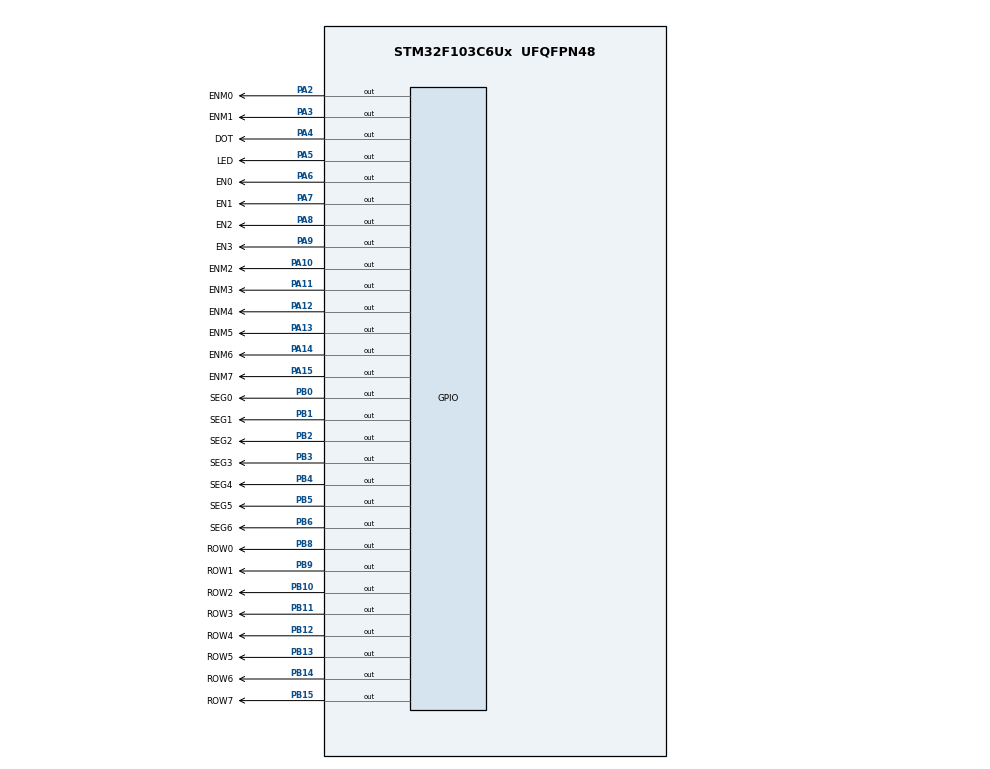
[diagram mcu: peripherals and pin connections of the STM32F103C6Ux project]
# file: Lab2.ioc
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Mcu.Family=STM32F1
Mcu.Name=STM32F103C6Ux
Mcu.Package=UFQFPN48
NVIC.PriorityGroup=NVIC_PRIORITYGROUP_4
NVIC.TIM2_IRQn=true\:0\:0\:false\:false\:true\:true\:true
PA10.GPIO_Label=ENM2
PA10.Signal=GPIO_Output
PA11.GPIO_Label=ENM3
PA11.Signal=GPIO_Output
PA12.GPIO_Label=ENM4
PA12.Signal=GPIO_Output
PA13.GPIO_Label=ENM5
PA13.Signal=GPIO_Output
PA14.GPIO_Label=ENM6
PA14.Signal=GPIO_Output
PA15.GPIO_Label=ENM7
PA15.Signal=GPIO_Output
PA2.GPIO_Label=ENM0
PA2.Signal=GPIO_Output
PA3.GPIO_Label=ENM1
PA3.Signal=GPIO_Output
PA4.GPIO_Label=DOT
PA4.Signal=GPIO_Output
PA5.GPIO_Label=LED
PA5.Signal=GPIO_Output
PA6.GPIO_Label=EN0
PA6.Signal=GPIO_Output
PA7.GPIO_Label=EN1
PA7.Signal=GPIO_Output
PA8.GPIO_Label=EN2
PA8.Signal=GPIO_Output
PA9.GPIO_Label=EN3
PA9.Signal=GPIO_Output
PB0.GPIO_Label=SEG0
PB0.Signal=GPIO_Output
PB1.GPIO_Label=SEG1
PB1.Signal=GPIO_Output
PB10.GPIO_Label=ROW2
PB10.Signal=GPIO_Output
PB11.GPIO_Label=ROW3
PB11.Signal=GPIO_Output
PB12.GPIO_Label=ROW4
PB12.Signal=GPIO_Output
PB13.GPIO_Label=ROW5
PB13.Signal=GPIO_Output
PB14.GPIO_Label=ROW6
PB14.Signal=GPIO_Output
PB15.GPIO_Label=ROW7
PB15.Signal=GPIO_Output
PB2.GPIO_Label=SEG2
PB2.Signal=GPIO_Output
PB3.GPIO_Label=SEG3
PB3.Signal=GPIO_Output
PB4.GPIO_Label=SEG4
PB4.Signal=GPIO_Output
PB5.GPIO_Label=SEG5
PB5.Signal=GPIO_Output
PB6.GPIO_Label=SEG6
PB6.Signal=GPIO_Output
PB8.GPIO_Label=ROW0
PB8.Signal=GPIO_Output
PB9.GPIO_Label=ROW1
PB9.Signal=GPIO_Output
ProjectManager.HeapSize=0x200
ProjectManager.StackSize=0x400
ProjectManager.TargetToolchain=STM32CubeIDE
RCC.APB1Freq_Value=8000000
RCC.APB2Freq_Value=8000000
TIM2.Period=9
TIM2.Prescaler=7999
VP_SYS_VS_ND.Mode=No_Debug
VP_TIM2_VS_ClockSourceINT.Mode=Internal
board=custom

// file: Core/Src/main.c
/* USER CODE BEGIN Header */
/**
  ******************************************************************************
  * @file           : main.c
  * @brief          : Main program body
  ******************************************************************************
  * @attention
  *
  * <h2><center>&copy; Copyright (c) 2025 STMicroelectronics.
  * All rights reserved.</center></h2>
  *
  * This software component is licensed by ST under BSD 3-Clause license,
  * the "License"; You may not use this file except in compliance with the
  * License. You may obtain a copy of the License at:
  *                        opensource.org/licenses/BSD-3-Clause
  *
  ******************************************************************************
  */
/* USER CODE END Header */
#include "main.h"
#include "function.h"

TIM_HandleTypeDef htim2;

void SystemClock_Config(void);
static void MX_GPIO_Init(void);
static void MX_TIM2_Init(void);

/* USER CODE BEGIN 0 */
void display7SEG(int num) {
		const uint8_t segmentMap[10][7] = {
			{1,1,1,1,1,1,0}, // 0
			{0,1,1,0,0,0,0}, // 1
			{1,1,0,1,1,0,1}, // 2
			{1,1,1,1,0,0,1}, // 3
			{0,1,1,0,0,1,1}, // 4
			{1,0,1,1,0,1,1}, // 5
			{1,0,1,1,1,1,1}, // 6
			{1,1,1,0,0,0,0}, // 7
			{1,1,1,1,1,1,1}, // 8
			{1,1,1,1,0,1,1}  // 9
		};

		if (num < 0 || num > 9) return; // invalid input

		HAL_GPIO_WritePin(SEG0_GPIO_Port, SEG0_Pin, segmentMap[num][0] ? GPIO_PIN_RESET : GPIO_PIN_SET);
		HAL_GPIO_WritePin(SEG1_GPIO_Port, SEG1_Pin, segmentMap[num][1] ? GPIO_PIN_RESET : GPIO_PIN_SET);
		HAL_GPIO_WritePin(SEG2_GPIO_Port, SEG2_Pin, segmentMap[num][2] ? GPIO_PIN_RESET : GPIO_PIN_SET);
		HAL_GPIO_WritePin(SEG3_GPIO_Port, SEG3_Pin, segmentMap[num][3] ? GPIO_PIN_RESET : GPIO_PIN_SET);
		HAL_GPIO_WritePin(SEG4_GPIO_Port, SEG4_Pin, segmentMap[num][4] ? GPIO_PIN_RESET : GPIO_PIN_SET);
		HAL_GPIO_WritePin(SEG5_GPIO_Port, SEG5_Pin, segmentMap[num][5] ? GPIO_PIN_RESET : GPIO_PIN_SET);
		HAL_GPIO_WritePin(SEG6_GPIO_Port, SEG6_Pin, segmentMap[num][6] ? GPIO_PIN_RESET : GPIO_PIN_SET);

	}
int hour = 15, minute = 31, second = 50;

const int MAX_LED = 4;
int index_led = 0;
int led_buffer[4] = {1, 5, 3, 1};
void updateClockBuffer(){
	led_buffer[0] = hour / 10;
	led_buffer[1] = hour % 10;
	led_buffer[2] = minute / 10;
	led_buffer[3] = minute % 10;
}
void update7SEG(int index){
    switch (index){
        case 0:
            //Display the first 7SEG with led_buffer[0]
        	HAL_GPIO_WritePin(EN0_GPIO_Port, EN0_Pin, RESET);
			HAL_GPIO_WritePin(EN1_GPIO_Port, EN1_Pin, SET);
			HAL_GPIO_WritePin(EN2_GPIO_Port, EN2_Pin, SET);
			HAL_GPIO_WritePin(EN3_GPIO_Port, EN3_Pin, SET);
			display7SEG(led_buffer[0]);
            break;
        case 1:
            //Display the second 7SEG with led_buffer[1]
        	HAL_GPIO_WritePin(EN0_GPIO_Port, EN0_Pin, SET);
			HAL_GPIO_WritePin(EN1_GPIO_Port, EN1_Pin, RESET);
			HAL_GPIO_WritePin(EN2_GPIO_Port, EN2_Pin, SET);
			HAL_GPIO_WritePin(EN3_GPIO_Port, EN3_Pin, SET);
			display7SEG(led_buffer[1]);
            break;
        case 2:
            //Display the third 7SEG with led_buffer[2]
        	HAL_GPIO_WritePin(EN0_GPIO_Port, EN0_Pin, SET);
			HAL_GPIO_WritePin(EN1_GPIO_Port, EN1_Pin, SET);
			HAL_GPIO_WritePin(EN2_GPIO_Port, EN2_Pin, RESET);
			HAL_GPIO_WritePin(EN3_GPIO_Port, EN3_Pin, SET);
			display7SEG(led_buffer[2]);
            break;
        case 3:
            //Display the forth 7SEG with led_buffer[3]
        	HAL_GPIO_WritePin(EN0_GPIO_Port, EN0_Pin, SET);
			HAL_GPIO_WritePin(EN1_GPIO_Port, EN1_Pin, SET);
			HAL_GPIO_WritePin(EN2_GPIO_Port, EN2_Pin, SET);
			HAL_GPIO_WritePin(EN3_GPIO_Port, EN3_Pin, RESET);
			display7SEG(led_buffer[3]);
            break;
        default:
            break;
    }
}
const int MAX_LED_MATRIX = 8;
int index_led_matrix = 0;
uint8_t matrix_buffer[8] = {0x01, 0x02, 0x03, 0x04, 0x05, 0x06, 0x07, 0x08};

void updateLEDMatrix(int index) {
    // Enable only the current column (active low)
    HAL_GPIO_WritePin(ENM0_GPIO_Port, ENM0_Pin, (index != 0));
    HAL_GPIO_WritePin(ENM1_GPIO_Port, ENM1_Pin, (index != 1));
    HAL_GPIO_WritePin(ENM2_GPIO_Port, ENM2_Pin, (index != 2));
    HAL_GPIO_WritePin(ENM3_GPIO_Port, ENM3_Pin, (index != 3));
    HAL_GPIO_WritePin(ENM4_GPIO_Port, ENM4_Pin, (index != 4));
    HAL_GPIO_WritePin(ENM5_GPIO_Port, ENM5_Pin, (index != 5));
    HAL_GPIO_WritePin(ENM6_GPIO_Port, ENM6_Pin, (index != 6));
    HAL_GPIO_WritePin(ENM7_GPIO_Port, ENM7_Pin, (index != 7));

    uint8_t data = matrix_buffer[index];
    HAL_GPIO_WritePin(ROW0_GPIO_Port, ROW0_Pin, (data & 0x01) ? GPIO_PIN_SET : GPIO_PIN_RESET);
    HAL_GPIO_WritePin(ROW1_GPIO_Port, ROW1_Pin, (data & 0x02) ? GPIO_PIN_SET : GPIO_PIN_RESET);
    HAL_GPIO_WritePin(ROW2_GPIO_Port, ROW2_Pin, (data & 0x04) ? GPIO_PIN_SET : GPIO_PIN_RESET);
    HAL_GPIO_WritePin(ROW3_GPIO_Port, ROW3_Pin, (data & 0x08) ? GPIO_PIN_SET : GPIO_PIN_RESET);
    HAL_GPIO_WritePin(ROW4_GPIO_Port, ROW4_Pin, (data & 0x10) ? GPIO_PIN_SET : GPIO_PIN_RESET);
    HAL_GPIO_WritePin(ROW5_GPIO_Port, ROW5_Pin, (data & 0x20) ? GPIO_PIN_SET : GPIO_PIN_RESET);
    HAL_GPIO_WritePin(ROW6_GPIO_Port, ROW6_Pin, (data & 0x40) ? GPIO_PIN_SET : GPIO_PIN_RESET);
    HAL_GPIO_WritePin(ROW7_GPIO_Port, ROW7_Pin, (data & 0x80) ? GPIO_PIN_SET : GPIO_PIN_RESET);
}
void shiftMatrix() {
    uint8_t temp = matrix_buffer[MAX_LED_MATRIX - 1];
    for (int i = MAX_LED_MATRIX - 1; i > 0; i--) {
        matrix_buffer[i] = matrix_buffer[i - 1];
    }
    matrix_buffer[0] = temp;
}
/* USER CODE END 0 */

/*
  * @brief  The application entry point.
  * @retval int
  */
int main(void)
{

  /* MCU Configuration--------------------------------------------------------*/

  /* Reset of all peripherals, Initializes the Flash interface and the Systick. */
  HAL_Init();

  /* Configure the system clock */
  SystemClock_Config();

  /* Initialize all configured peripherals */
  MX_GPIO_Init();
  MX_TIM2_Init();
  /* USER CODE BEGIN 2 */
  HAL_TIM_Base_Start_IT(&htim2);
  /* USER CODE END 2 */

  //A
  matrix_buffer[0] = 0b11111111;  // Col0 row7->row0
  matrix_buffer[1] = 0b10000001;  // Col1
  matrix_buffer[2] = 0b11110110;  // Col2
  matrix_buffer[3] = 0b11110110;  // Col3
  matrix_buffer[4] = 0b11110110;  // Col4
  matrix_buffer[5] = 0b10000001;  // Col5
  matrix_buffer[6] = 0b11111111;  // Col6
  matrix_buffer[7] = 0b11111111;  // Col7

  set_Timer0(1000);
  set_Timer4(1000);
  set_Timer1(500);
  set_Timer2(100);
  set_Timer3(20);

  /* Infinite loop */
  while (1)
  {
	  //7seg
	  if (timer2_flag == 1){
		  set_Timer2(250);
		  update7SEG(index_led);
		  index_led++;
		  if (index_led > 3) index_led = 0;
	  }
	  if (timer0_flag == 1){
		  set_Timer0(1000);
		  second++;
		  if (second >= 60){
			  second = 0;
			  minute++;
		  }
		  if(minute >= 60){
			  minute = 0;
			  hour++;
		  }
		  if(hour >=24){
			  hour = 0;
		  }
		  updateClockBuffer();
	  }
	  //Matrix 8x8
	  if (timer3_flag == 1){
		  set_Timer3(20);
		  updateLEDMatrix(index_led_matrix);
		  index_led_matrix++;
		  if (index_led_matrix > 7) index_led_matrix = 0;
	  }
	  if (timer4_flag == 1){
		  set_Timer4(800);
		  shiftMatrix();
	  }
	  // DOT
	  if (timer1_flag == 1){
		  set_Timer1(500);
		  HAL_GPIO_TogglePin(LED_GPIO_Port, LED_Pin);
		  HAL_GPIO_TogglePin(DOT_GPIO_Port, DOT_Pin);
	  }

  }
}

void SystemClock_Config(void)
{
  RCC_OscInitTypeDef RCC_OscInitStruct = {0};
  RCC_ClkInitTypeDef RCC_ClkInitStruct = {0};

  /** Initializes the RCC Oscillators according to the specified parameters
  * in the RCC_OscInitTypeDef structure.
  */
  RCC_OscInitStruct.OscillatorType = RCC_OSCILLATORTYPE_HSI;
  RCC_OscInitStruct.HSIState = RCC_HSI_ON;
  RCC_OscInitStruct.HSICalibrationValue = RCC_HSICALIBRATION_DEFAULT;
  RCC_OscInitStruct.PLL.PLLState = RCC_PLL_NONE;
  if (HAL_RCC_OscConfig(&RCC_OscInitStruct) != HAL_OK)
  {
    Error_Handler();
  }
  /** Initializes the CPU, AHB and APB buses clocks
  */
  RCC_ClkInitStruct.ClockType = RCC_CLOCKTYPE_HCLK|RCC_CLOCKTYPE_SYSCLK
                              |RCC_CLOCKTYPE_PCLK1|RCC_CLOCKTYPE_PCLK2;
  RCC_ClkInitStruct.SYSCLKSource = RCC_SYSCLKSOURCE_HSI;
  RCC_ClkInitStruct.AHBCLKDivider = RCC_SYSCLK_DIV1;
  RCC_ClkInitStruct.APB1CLKDivider = RCC_HCLK_DIV1;
  RCC_ClkInitStruct.APB2CLKDivider = RCC_HCLK_DIV1;

  if (HAL_RCC_ClockConfig(&RCC_ClkInitStruct, FLASH_LATENCY_0) != HAL_OK)
  {
    Error_Handler();
  }
}

static void MX_TIM2_Init(void)
{

  TIM_ClockConfigTypeDef sClockSourceConfig = {0};
  TIM_MasterConfigTypeDef sMasterConfig = {0};

  htim2.Instance = TIM2;
  htim2.Init.Prescaler = 7999;
  htim2.Init.CounterMode = TIM_COUNTERMODE_UP;
  htim2.Init.Period = 9;
  htim2.Init.ClockDivision = TIM_CLOCKDIVISION_DIV1;
  htim2.Init.AutoReloadPreload = TIM_AUTORELOAD_PRELOAD_DISABLE;
  if (HAL_TIM_Base_Init(&htim2) != HAL_OK)
  {
    Error_Handler();
  }
  sClockSourceConfig.ClockSource = TIM_CLOCKSOURCE_INTERNAL;
  if (HAL_TIM_ConfigClockSource(&htim2, &sClockSourceConfig) != HAL_OK)
  {
    Error_Handler();
  }
  sMasterConfig.MasterOutputTrigger = TIM_TRGO_RESET;
  sMasterConfig.MasterSlaveMode = TIM_MASTERSLAVEMODE_DISABLE;
  if (HAL_TIMEx_MasterConfigSynchronization(&htim2, &sMasterConfig) != HAL_OK)
  {
    Error_Handler();
  }

}

static void MX_GPIO_Init(void)
{
  GPIO_InitTypeDef GPIO_InitStruct = {0};

  /* GPIO Ports Clock Enable */
  __HAL_RCC_GPIOA_CLK_ENABLE();
  __HAL_RCC_GPIOB_CLK_ENABLE();

  /*Configure GPIO pin Output Level */
  HAL_GPIO_WritePin(GPIOA, ENM0_Pin|ENM1_Pin|DOT_Pin|LED_Pin
                          |EN0_Pin|EN1_Pin|EN2_Pin|EN3_Pin
                          |ENM2_Pin|ENM3_Pin|ENM4_Pin|ENM5_Pin
                          |ENM6_Pin|ENM7_Pin, GPIO_PIN_RESET);

  /*Configure GPIO pin Output Level */
  HAL_GPIO_WritePin(GPIOB, SEG0_Pin|SEG1_Pin|SEG2_Pin|ROW2_Pin
                          |ROW3_Pin|ROW4_Pin|ROW5_Pin|ROW6_Pin
                          |ROW7_Pin|SEG3_Pin|SEG4_Pin|SEG5_Pin
                          |SEG6_Pin|ROW0_Pin|ROW1_Pin, GPIO_PIN_RESET);

  /*Configure GPIO pins : ENM0_Pin ENM1_Pin DOT_Pin LED_Pin
                           EN0_Pin EN1_Pin EN2_Pin EN3_Pin
                           ENM2_Pin ENM3_Pin ENM4_Pin ENM5_Pin
                           ENM6_Pin ENM7_Pin */
  GPIO_InitStruct.Pin = ENM0_Pin|ENM1_Pin|DOT_Pin|LED_Pin
                          |EN0_Pin|EN1_Pin|EN2_Pin|EN3_Pin
                          |ENM2_Pin|ENM3_Pin|ENM4_Pin|ENM5_Pin
                          |ENM6_Pin|ENM7_Pin;
  GPIO_InitStruct.Mode = GPIO_MODE_OUTPUT_PP;
  GPIO_InitStruct.Pull = GPIO_NOPULL;
  GPIO_InitStruct.Speed = GPIO_SPEED_FREQ_LOW;
  HAL_GPIO_Init(GPIOA, &GPIO_InitStruct);

  /*Configure GPIO pins : SEG0_Pin SEG1_Pin SEG2_Pin ROW2_Pin
                           ROW3_Pin ROW4_Pin ROW5_Pin ROW6_Pin
                           ROW7_Pin SEG3_Pin SEG4_Pin SEG5_Pin
                           SEG6_Pin ROW0_Pin ROW1_Pin */
  GPIO_InitStruct.Pin = SEG0_Pin|SEG1_Pin|SEG2_Pin|ROW2_Pin
                          |ROW3_Pin|ROW4_Pin|ROW5_Pin|ROW6_Pin
                          |ROW7_Pin|SEG3_Pin|SEG4_Pin|SEG5_Pin
                          |SEG6_Pin|ROW0_Pin|ROW1_Pin;
  GPIO_InitStruct.Mode = GPIO_MODE_OUTPUT_PP;
  GPIO_InitStruct.Pull = GPIO_NOPULL;
  GPIO_InitStruct.Speed = GPIO_SPEED_FREQ_LOW;
  HAL_GPIO_Init(GPIOB, &GPIO_InitStruct);

}

/* USER CODE BEGIN 4 */

	void HAL_TIM_PeriodElapsedCallback(TIM_HandleTypeDef *htim)
	{
		timer_run();

	}
/* USER CODE END 4 */

void Error_Handler(void)
{
  __disable_irq();
  while (1)
  {
  }
}

/************************ (C) COPYRIGHT STMicroelectronics *****END OF FILE****/
